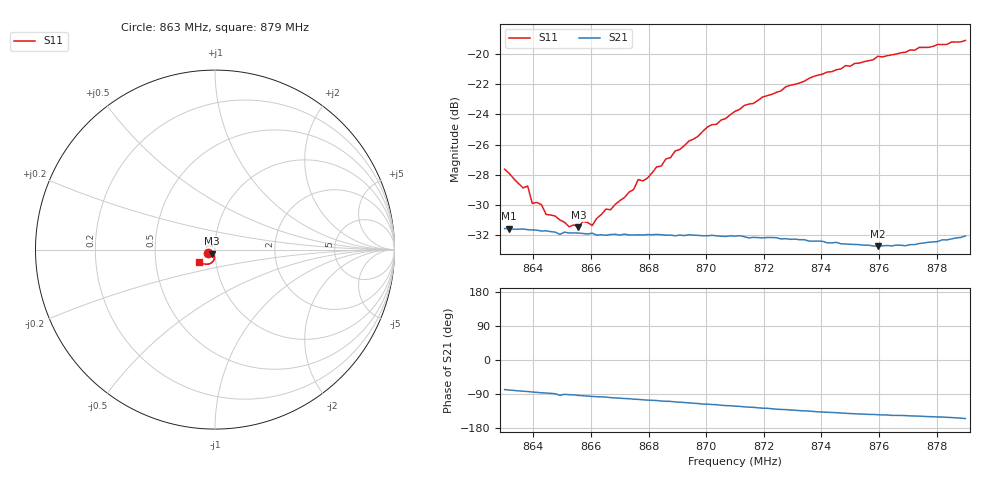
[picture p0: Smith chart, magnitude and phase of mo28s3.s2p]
# HZ S RI R 50
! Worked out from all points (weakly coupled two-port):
!   101 points, 863 MHz to 879 MHz, reference 50 ohm
!   highest |S21| = -31.58 dB at 863.16 MHz (marker M1); lowest = -32.7 dB at 875.96 MHz (marker M2)
!   lowest |S11| = -31.5 dB at 865.56 MHz (marker M3), VSWR 1.05, Z = 48.5 - j2.13 ohm
!   |S11| at or under -10 dB: start of sweep to end of sweep
!   S12 and S22 are empty: the file has one direction only
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8.63e8  -0.0378 -0.0171  0.00548 -0.0258  0 0  0 0
8.6316e8  -0.0365 -0.0168  0.00489 -0.0259  0 0  0 0
8.6364e8  -0.0316 -0.0171  0.00347 -0.0261  0 0  0 0
8.638e8  -0.0342 -0.0129  0.00314 -0.026  0 0  0 0
8.6396e8  -0.0274 -0.0164  0.00252 -0.026  0 0  0 0
8.6428e8  -0.0254 -0.0189  0.00158 -0.0258  0 0  0 0
8.6444e8  -0.0239 -0.017  0.00128 -0.0259  0 0  0 0
8.6556e8  -0.015 -0.022  -0.00152 -0.0254  0 0  0 0
8.6572e8  -0.0132 -0.0245  -0.00191 -0.0253  0 0  0 0
8.6604e8  -0.0109 -0.0247  -0.00269 -0.0253  0 0  0 0
8.6652e8  -0.00901 -0.0292  -0.00341 -0.0248  0 0  0 0
8.6668e8  -0.00808 -0.0294  -0.00407 -0.0249  0 0  0 0
8.6748e8  -0.00447 -0.0353  -0.00582 -0.0244  0 0  0 0
8.6764e8  -0.00647 -0.0378  -0.00606 -0.0244  0 0  0 0
8.678e8  -0.00499 -0.0376  -0.0065 -0.0243  0 0  0 0
8.6844e8  -0.00354 -0.0424  -0.00791 -0.0239  0 0  0 0
8.7004e8  -0.00614 -0.0569  -0.0112 -0.0223  0 0  0 0
8.71e8  -0.00876 -0.064  -0.0131 -0.0211  0 0  0 0
8.7372e8  -0.0292 -0.079  -0.0171 -0.0167  0 0  0 0
8.7596e8  -0.0529 -0.0829  -0.0187 -0.0134  0 0  0 0
8.7644e8  -0.0583 -0.0805  -0.0192 -0.0129  0 0  0 0
8.79e8  -0.0869 -0.0689  -0.0225 -0.0107  0 0  0 0
